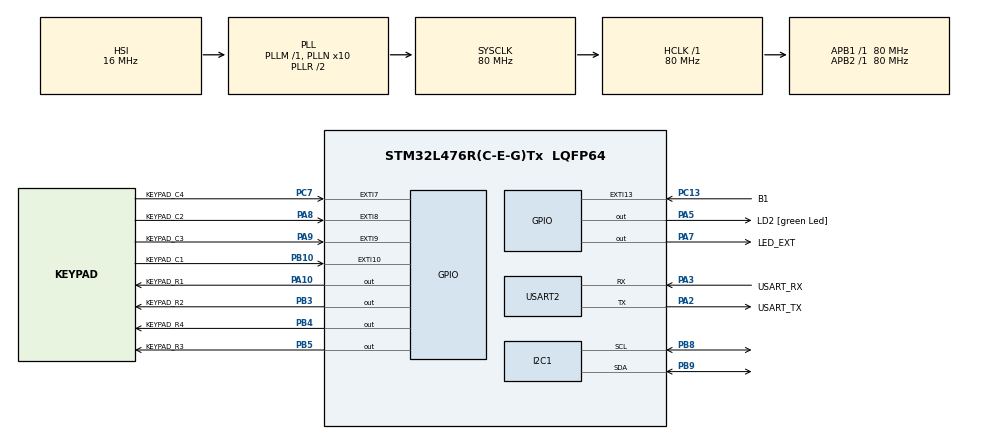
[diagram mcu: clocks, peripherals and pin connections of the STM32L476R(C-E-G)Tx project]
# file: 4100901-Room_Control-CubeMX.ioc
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I2C1.Timing=0x10D19CE4
Mcu.Family=STM32L4
Mcu.Name=STM32L476R(C-E-G)Tx
Mcu.Package=LQFP64
NVIC.EXTI15_10_IRQn=true\:0\:0\:false\:false\:true\:true\:true\:true
NVIC.EXTI9_5_IRQn=true\:0\:0\:false\:false\:true\:true\:true\:true
NVIC.PriorityGroup=NVIC_PRIORITYGROUP_4
NVIC.USART2_IRQn=true\:0\:0\:false\:false\:true\:true\:true\:true
PA10.GPIO_Label=KEYPAD_R1
PA10.Signal=GPIO_Output
PA13\ (JTMS-SWDIO).GPIO_Label=TMS
PA13\ (JTMS-SWDIO).Mode=Serial_Wire
PA13\ (JTMS-SWDIO).Signal=SYS_JTMS-SWDIO
PA14\ (JTCK-SWCLK).GPIO_Label=TCK
PA14\ (JTCK-SWCLK).Mode=Serial_Wire
PA14\ (JTCK-SWCLK).Signal=SYS_JTCK-SWCLK
PA2.GPIO_Label=USART_TX
PA2.GPIO_Mode=GPIO_MODE_AF_PP
PA2.GPIO_PuPd=GPIO_NOPULL
PA2.GPIO_Speed=GPIO_SPEED_FREQ_VERY_HIGH
PA2.Mode=Asynchronous
PA2.Signal=USART2_TX
PA3.GPIO_Label=USART_RX
PA3.GPIO_Mode=GPIO_MODE_AF_PP
PA3.GPIO_PuPd=GPIO_NOPULL
PA3.GPIO_Speed=GPIO_SPEED_FREQ_VERY_HIGH
PA3.Mode=Asynchronous
PA3.Signal=USART2_RX
PA5.GPIO_Label=LD2 [green Led]
PA5.GPIO_ModeDefaultOutputPP=GPIO_MODE_OUTPUT_PP
PA5.GPIO_PuPd=GPIO_NOPULL
PA5.GPIO_Speed=GPIO_SPEED_FREQ_LOW
PA5.Signal=GPIO_Output
PA7.GPIO_Label=LED_EXT
PA7.Signal=GPIO_Output
PA8.GPIO_Label=KEYPAD_C2
PA8.GPIO_ModeDefaultEXTI=GPIO_MODE_IT_RISING
PA8.GPIO_PuPd=GPIO_PULLUP
PA8.Signal=GPXTI8
PA9.GPIO_Label=KEYPAD_C3
PA9.GPIO_ModeDefaultEXTI=GPIO_MODE_IT_RISING
PA9.GPIO_PuPd=GPIO_PULLUP
PA9.Signal=GPXTI9
PB10.GPIO_Label=KEYPAD_C1
PB10.GPIO_ModeDefaultEXTI=GPIO_MODE_IT_RISING
PB10.GPIO_PuPd=GPIO_PULLUP
PB10.Signal=GPXTI10
PB3\ (JTDO-TRACESWO).GPIO_Label=KEYPAD_R2
PB3\ (JTDO-TRACESWO).Signal=GPIO_Output
PB4\ (NJTRST).GPIO_Label=KEYPAD_R4
PB4\ (NJTRST).Signal=GPIO_Output
PB5.GPIO_Label=KEYPAD_R3
PB5.Signal=GPIO_Output
PB8.Mode=I2C
PB8.Signal=I2C1_SCL
PB9.Mode=I2C
PB9.Signal=I2C1_SDA
PC13.GPIO_Label=B1
PC13.GPIO_ModeDefaultEXTI=GPIO_MODE_IT_FALLING
PC13.GPIO_PuPd=GPIO_NOPULL
PC13.Signal=GPXTI13
PC14-OSC32_IN\ (PC14).Mode=LSE-External-Oscillator
PC14-OSC32_IN\ (PC14).Signal=RCC_OSC32_IN
PC15-OSC32_OUT\ (PC15).Mode=LSE-External-Oscillator
PC15-OSC32_OUT\ (PC15).Signal=RCC_OSC32_OUT
PC7.GPIO_Label=KEYPAD_C4
PC7.GPIO_ModeDefaultEXTI=GPIO_MODE_IT_RISING
PC7.GPIO_PuPd=GPIO_PULLUP
PC7.Signal=GPXTI7
PH0-OSC_IN\ (PH0).Signal=RCC_OSC_IN
PH1-OSC_OUT\ (PH1).Signal=RCC_OSC_OUT
ProjectManager.HeapSize=0x200
ProjectManager.StackSize=0x400
ProjectManager.TargetToolchain=CMake
RCC.ADCFreq_Value=64000000
RCC.AHBFreq_Value=80000000
RCC.APB1Freq_Value=80000000
RCC.APB1TimFreq_Value=80000000
RCC.APB2Freq_Value=80000000
RCC.APB2TimFreq_Value=80000000
RCC.CortexFreq_Value=80000000
RCC.HCLKFreq_Value=80000000
RCC.HSE_VALUE=8000000
RCC.HSI_VALUE=16000000
RCC.MSI_VALUE=4000000
RCC.PLLN=10
RCC.PLLSourceVirtual=RCC_PLLSOURCE_HSI
RCC.PREFETCH_ENABLE=1
RCC.SYSCLKFreq_VALUE=80000000
RCC.SYSCLKSource=RCC_SYSCLKSOURCE_PLLCLK
RCC.USBFreq_Value=64000000
RCC.VCOOutputFreq_Value=160000000
USART2.VirtualMode-Asynchronous=VM_ASYNC
board=NUCLEO-L476RG

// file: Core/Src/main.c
/* USER CODE BEGIN Header */
/**
  ******************************************************************************
  * @file           : main.c
  * @brief          : Main program body
  ******************************************************************************
  * @attention
  *
  * Este programa implementa un control de acceso con teclado matricial y una
  * pantalla OLED SSD1306. La comunicación UART se ha sustituido por la
  * pantalla para mostrar el estado del sistema.
  *
  * Copyright (c) 2025 STMicroelectronics.
  * All rights reserved.
  *
  ******************************************************************************
  */
/* USER CODE END Header */
#include "main.h"

/* USER CODE BEGIN Includes */
#include "led_driver.h"
#include "ring_buffer.h"
#include "keypad_driver.h"
#include <stdio.h>
#include <string.h>

#include "ssd1306.h"
#include "ssd1306_fonts.h"
/* USER CODE END Includes */

/* USER CODE BEGIN PTD */
typedef enum {
    SCREEN_STATE_ENTER_PIN,
    SCREEN_STATE_GRANTED,
    SCREEN_STATE_DENIED
} ScreenState_t;
/* USER CODE END PTD */

/* USER CODE BEGIN PD */
#define PASSWORD "9A#*"
#define PASSWORD_LEN 4
#define DEBOUNCE_TIME_MS 200
#define FEEDBACK_LED_TIME_MS 100
#define SUCCESS_LED_TIME_MS 5000
#define MSG_DISPLAY_TIME_MS 2500
/* USER CODE END PD */

I2C_HandleTypeDef hi2c1;
UART_HandleTypeDef huart2;

/* USER CODE BEGIN PV */
led_handle_t led1 = { .port = GPIOA, .pin = GPIO_PIN_5 };

keypad_handle_t keypad = {
    .row_ports = {KEYPAD_R1_GPIO_Port, KEYPAD_R2_GPIO_Port, KEYPAD_R3_GPIO_Port, KEYPAD_R4_GPIO_Port},
    .row_pins  = {KEYPAD_R1_Pin, KEYPAD_R2_Pin, KEYPAD_R3_Pin, KEYPAD_R4_Pin},
    .col_ports = {KEYPAD_C1_GPIO_Port, KEYPAD_C2_GPIO_Port, KEYPAD_C3_GPIO_Port, KEYPAD_C4_GPIO_Port},
    .col_pins  = {KEYPAD_C1_Pin, KEYPAD_C2_Pin, KEYPAD_C3_Pin, KEYPAD_C4_Pin}
};

#define KEYPAD_BUFFER_LEN 16
uint8_t keypad_buffer[KEYPAD_BUFFER_LEN];
ring_buffer_t keypad_rb;

char entered_password[PASSWORD_LEN + 1] = {0};
uint8_t password_index = 0;
ScreenState_t current_screen_state = SCREEN_STATE_ENTER_PIN;

uint32_t last_key_press_time = 0;
uint32_t led_timer_start = 0;
uint32_t led_on_duration = 0;
uint32_t screen_msg_timer = 0;
/* USER CODE END PV */

void SystemClock_Config(void);
static void MX_GPIO_Init(void);
static void MX_I2C1_Init(void);
static void MX_USART2_UART_Init(void);
/* USER CODE BEGIN PFP */
void update_display(void);
void manage_timers(void);
void process_key(uint8_t key);
/* USER CODE END PFP */

/* USER CODE BEGIN 0 */

void HAL_GPIO_EXTI_Callback(uint16_t GPIO_Pin) {
    char key = keypad_scan(&keypad, GPIO_Pin);
    if (key != '\0') {
        ring_buffer_write(&keypad_rb, (uint8_t)key);
    }
}

/**
 * @brief Actualiza la pantalla OLED según el estado actual del sistema.
 */
void update_display(void) {
    ssd1306_Fill(Black); // Limpiar el buffer de la pantalla

    switch(current_screen_state) {
        case SCREEN_STATE_ENTER_PIN:
            ssd1306_SetCursor(18, 10);
            ssd1306_WriteString("Ingrese PIN:", Font_7x10, White);

            // ====================== SECCIÓN MODIFICADA ======================
            // En lugar de crear un string de asteriscos, ahora dibujamos
            // directamente la variable 'entered_password' para ver los dígitos.
            ssd1306_SetCursor(40, 32);
            ssd1306_WriteString(entered_password, Font_11x18, White);
            // ==================== FIN DE LA SECCIÓN MODIFICADA ================

            break;

        case SCREEN_STATE_GRANTED:
            ssd1306_SetCursor(5, 25);
            ssd1306_WriteString("Acceso Concedido", Font_7x10, White);
            break;

        case SCREEN_STATE_DENIED:
            ssd1306_SetCursor(5, 25);
            ssd1306_WriteString("Acceso Denegado", Font_7x10, White);
            break;
    }

    ssd1306_UpdateScreen(); // Enviar el buffer a la pantalla física
}

void process_key(uint8_t key) {
    if (current_screen_state != SCREEN_STATE_ENTER_PIN) {
        return;
    }

    led_on(&led1);
    led_timer_start = HAL_GetTick();
    led_on_duration = FEEDBACK_LED_TIME_MS;

    if (password_index < PASSWORD_LEN) {
        entered_password[password_index++] = (char)key;
    }

    if (password_index == PASSWORD_LEN) {
        if (strncmp(entered_password, PASSWORD, PASSWORD_LEN) == 0) {
            current_screen_state = SCREEN_STATE_GRANTED;
            led_on(&led1);
            led_timer_start = HAL_GetTick();
            led_on_duration = SUCCESS_LED_TIME_MS;
        } else {
            current_screen_state = SCREEN_STATE_DENIED;
            led_off(&led1);
            led_timer_start = 0;
        }
        screen_msg_timer = HAL_GetTick();

        password_index = 0;
        memset(entered_password, 0, sizeof(entered_password));
    }

    update_display();
}

void manage_timers(void) {
    if (led_timer_start != 0 && (HAL_GetTick() - led_timer_start > led_on_duration)) {
        led_off(&led1);
        led_timer_start = 0;
    }

    if (screen_msg_timer != 0 && (HAL_GetTick() - screen_msg_timer > MSG_DISPLAY_TIME_MS)) {
        current_screen_state = SCREEN_STATE_ENTER_PIN;
        screen_msg_timer = 0;
        update_display();
    }
}

/* USER CODE END 0 */

int main(void)
{
  /* MCU Configuration--------------------------------------------------------*/
  HAL_Init();
  SystemClock_Config();

  /* Initialize all configured peripherals */
  MX_GPIO_Init();
  MX_I2C1_Init();
  MX_USART2_UART_Init();

  /* USER CODE BEGIN 2 */
  led_init(&led1);
  ring_buffer_init(&keypad_rb, keypad_buffer, KEYPAD_BUFFER_LEN);
  keypad_init(&keypad);

  if (HAL_I2C_IsDeviceReady(&hi2c1, SSD1306_I2C_ADDR, 1, 100) == HAL_OK)
  {
      ssd1306_Init();
      update_display();
  }
  else
  {
      led_on(&led1);
      while(1);
  }

  /* USER CODE END 2 */

  /* Infinite loop */
  /* USER CODE BEGIN WHILE */
  while (1)
  {
    uint8_t key_from_buffer;

    if (ring_buffer_read(&keypad_rb, &key_from_buffer)) {
        if (HAL_GetTick() - last_key_press_time > DEBOUNCE_TIME_MS) {
            last_key_press_time = HAL_GetTick();
            process_key(key_from_buffer);
        }
    }

    manage_timers();

    /* USER CODE END WHILE */

  }
}

void SystemClock_Config(void)
{
  RCC_OscInitTypeDef RCC_OscInitStruct = {0};
  RCC_ClkInitTypeDef RCC_ClkInitStruct = {0};

  if (HAL_PWREx_ControlVoltageScaling(PWR_REGULATOR_VOLTAGE_SCALE1) != HAL_OK) { Error_Handler(); }

  RCC_OscInitStruct.OscillatorType = RCC_OSCILLATORTYPE_HSI;
  RCC_OscInitStruct.HSIState = RCC_HSI_ON;
  RCC_OscInitStruct.HSICalibrationValue = RCC_HSICALIBRATION_DEFAULT;
  RCC_OscInitStruct.PLL.PLLState = RCC_PLL_ON;
  RCC_OscInitStruct.PLL.PLLSource = RCC_PLLSOURCE_HSI;
  RCC_OscInitStruct.PLL.PLLM = 1;
  RCC_OscInitStruct.PLL.PLLN = 10;
  RCC_OscInitStruct.PLL.PLLP = RCC_PLLP_DIV7;
  RCC_OscInitStruct.PLL.PLLQ = RCC_PLLQ_DIV2;
  RCC_OscInitStruct.PLL.PLLR = RCC_PLLR_DIV2;
  if (HAL_RCC_OscConfig(&RCC_OscInitStruct) != HAL_OK) { Error_Handler(); }

  RCC_ClkInitStruct.ClockType = RCC_CLOCKTYPE_HCLK|RCC_CLOCKTYPE_SYSCLK|RCC_CLOCKTYPE_PCLK1|RCC_CLOCKTYPE_PCLK2;
  RCC_ClkInitStruct.SYSCLKSource = RCC_SYSCLKSOURCE_PLLCLK;
  RCC_ClkInitStruct.AHBCLKDivider = RCC_SYSCLK_DIV1;
  RCC_ClkInitStruct.APB1CLKDivider = RCC_HCLK_DIV1;
  RCC_ClkInitStruct.APB2CLKDivider = RCC_HCLK_DIV1;
  if (HAL_RCC_ClockConfig(&RCC_ClkInitStruct, FLASH_LATENCY_4) != HAL_OK) { Error_Handler(); }
}

static void MX_I2C1_Init(void)
{
  hi2c1.Instance = I2C1;
  hi2c1.Init.Timing = 0x10909CEC;
  hi2c1.Init.OwnAddress1 = 0;
  hi2c1.Init.AddressingMode = I2C_ADDRESSINGMODE_7BIT;
  hi2c1.Init.DualAddressMode = I2C_DUALADDRESS_DISABLE;
  hi2c1.Init.OwnAddress2 = 0;
  hi2c1.Init.OwnAddress2Masks = I2C_OA2_NOMASK;
  hi2c1.Init.GeneralCallMode = I2C_GENERALCALL_DISABLE;
  hi2c1.Init.NoStretchMode = I2C_NOSTRETCH_DISABLE;
  if (HAL_I2C_Init(&hi2c1) != HAL_OK) { Error_Handler(); }

  if (HAL_I2CEx_ConfigAnalogFilter(&hi2c1, I2C_ANALOGFILTER_ENABLE) != HAL_OK) { Error_Handler(); }
  if (HAL_I2CEx_ConfigDigitalFilter(&hi2c1, 0) != HAL_OK) { Error_Handler(); }
}

static void MX_USART2_UART_Init(void)
{
  huart2.Instance = USART2;
  huart2.Init.BaudRate = 115200;
  huart2.Init.WordLength = UART_WORDLENGTH_8B;
  huart2.Init.StopBits = UART_STOPBITS_1;
  huart2.Init.Parity = UART_PARITY_NONE;
  huart2.Init.Mode = UART_MODE_TX_RX;
  huart2.Init.HwFlowCtl = UART_HWCONTROL_NONE;
  huart2.Init.OverSampling = UART_OVERSAMPLING_16;
  huart2.Init.OneBitSampling = UART_ONE_BIT_SAMPLE_DISABLE;
  huart2.AdvancedInit.AdvFeatureInit = UART_ADVFEATURE_NO_INIT;
  if (HAL_UART_Init(&huart2) != HAL_OK) { Error_Handler(); }
}

static void MX_GPIO_Init(void)
{
  GPIO_InitTypeDef GPIO_InitStruct = {0};

  /* GPIO Ports Clock Enable */
  __HAL_RCC_GPIOC_CLK_ENABLE();
  __HAL_RCC_GPIOH_CLK_ENABLE();
  __HAL_RCC_GPIOA_CLK_ENABLE();
  __HAL_RCC_GPIOB_CLK_ENABLE();

  /*Configure GPIO pin Output Level */
  HAL_GPIO_WritePin(GPIOA, LD2_Pin|KEYPAD_R1_Pin, GPIO_PIN_RESET);
  HAL_GPIO_WritePin(GPIOB, KEYPAD_R2_Pin|KEYPAD_R4_Pin|KEYPAD_R3_Pin, GPIO_PIN_RESET);

  /*Configure GPIO pin : B1_Pin */
  GPIO_InitStruct.Pin = B1_Pin;
  GPIO_InitStruct.Mode = GPIO_MODE_IT_FALLING;
  GPIO_InitStruct.Pull = GPIO_NOPULL;
  HAL_GPIO_Init(B1_GPIO_Port, &GPIO_InitStruct);

  /*Configure GPIO pins : LD2_Pin (LED) and Keypad Rows */
  GPIO_InitStruct.Pin = LD2_Pin|KEYPAD_R1_Pin;
  GPIO_InitStruct.Mode = GPIO_MODE_OUTPUT_PP;
  GPIO_InitStruct.Pull = GPIO_NOPULL;
  GPIO_InitStruct.Speed = GPIO_SPEED_FREQ_LOW;
  HAL_GPIO_Init(GPIOA, &GPIO_InitStruct);

  GPIO_InitStruct.Pin = KEYPAD_R2_Pin|KEYPAD_R4_Pin|KEYPAD_R3_Pin;
  GPIO_InitStruct.Mode = GPIO_MODE_OUTPUT_PP;
  GPIO_InitStruct.Pull = GPIO_NOPULL;
  GPIO_InitStruct.Speed = GPIO_SPEED_FREQ_LOW;
  HAL_GPIO_Init(GPIOB, &GPIO_InitStruct);

  /* ====================== SECCIÓN CORREGIDA ====================== */
  /* Configure Keypad Columns as Inputs with Interrupts              */
  /* Cada puerto debe ser inicializado en su propia llamada.         */

  /* Configure Keypad Columns on GPIOA (C2, C3) */
  GPIO_InitStruct.Pin = KEYPAD_C2_Pin|KEYPAD_C3_Pin;
  GPIO_InitStruct.Mode = GPIO_MODE_IT_FALLING;
  GPIO_InitStruct.Pull = GPIO_PULLUP;
  HAL_GPIO_Init(GPIOA, &GPIO_InitStruct);

  /* Configure Keypad Column on GPIOB (C1) */
  GPIO_InitStruct.Pin = KEYPAD_C1_Pin;
  GPIO_InitStruct.Mode = GPIO_MODE_IT_FALLING;
  GPIO_InitStruct.Pull = GPIO_PULLUP;
  HAL_GPIO_Init(GPIOB, &GPIO_InitStruct);

  /* Configure Keypad Column on GPIOC (C4) */
  GPIO_InitStruct.Pin = KEYPAD_C4_Pin;
  GPIO_InitStruct.Mode = GPIO_MODE_IT_FALLING;
  GPIO_InitStruct.Pull = GPIO_PULLUP;
  HAL_GPIO_Init(GPIOC, &GPIO_InitStruct);
  /* ==================== FIN DE LA SECCIÓN CORREGIDA ==================== */

  /* EXTI interrupt init*/
  HAL_NVIC_SetPriority(EXTI9_5_IRQn, 5, 0);
  HAL_NVIC_EnableIRQ(EXTI9_5_IRQn);

  HAL_NVIC_SetPriority(EXTI15_10_IRQn, 5, 0);
  HAL_NVIC_EnableIRQ(EXTI15_10_IRQn);
}

void Error_Handler(void)
{
  __disable_irq();
  while (1) { }
}
